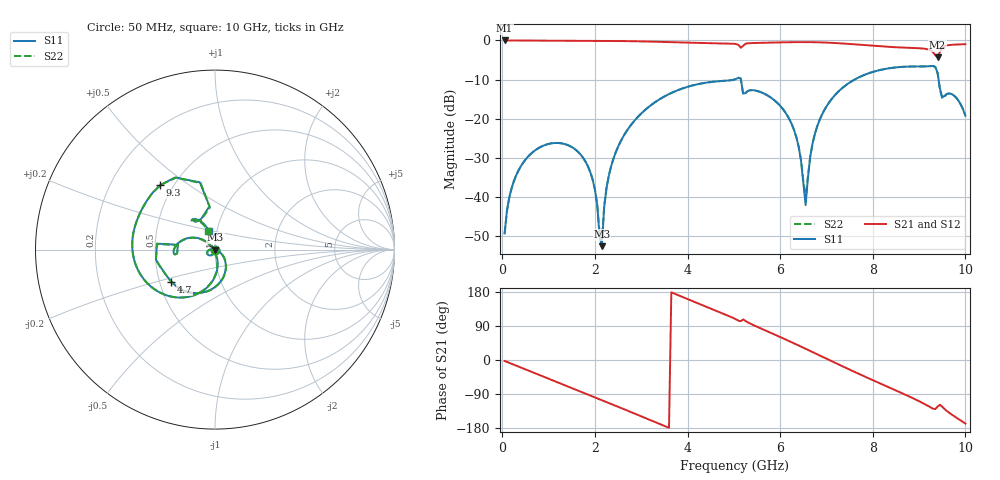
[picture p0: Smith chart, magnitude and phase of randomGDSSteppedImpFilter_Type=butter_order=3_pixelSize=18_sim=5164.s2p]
! freq	dB(S11)	phase(S11)	dB(S12)	phase(S12)
!  dB(S21)	phase(S21)	dB(S22)	phase(S22)
!S-par simulation data
#  GHz  S  DB  R 50
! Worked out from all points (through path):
!   200 points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, 50 MHz to 10 GHz, reference 50 ohm
!   highest |S21| = -0.01 dB at 50 MHz (marker M1); lowest = -4.3 dB at 9.4 GHz (marker M2)
!   group delay of S21, straight-line fit = 145 ps
!   lowest |S11| = -52.6 dB at 2.15 GHz (marker M3), VSWR 1.00, Z = 50.2 + j0.0479 ohm
!   |S11| at or under -10 dB: start of sweep to 5.011 GHz; 5.153 GHz to 7.609 GHz (2.456 GHz wide, 38.5 % of centre); 9.421 GHz to end of sweep
!   |S22| runs from -51.2 to -6.5 dB; largest |S21 - S12| = 0
!   S11 on the Smith chart (normalised r, x): 50 MHz: 1.00, -0.01; 4.7 GHz: 0.58, -0.23; 9.3 GHz: 0.42, +0.39; 10 GHz: 0.92, +0.19
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0.05  -49.37 -83.8  -0.01 -2.5  -0.01 -2.5  -49.37 -83.7
0.25  -35.97 -101.6  -0.02 -12.3  -0.02 -12.3  -35.97 -101.6
0.6  -29.18 -120.0  -0.04 -29.5  -0.04 -29.5  -29.19 -120.1
1.2  -26.22 -150.0  -0.08 -58.9  -0.08 -58.9  -26.22 -150.4
1.75  -30.10 -177.9  -0.10 -86.0  -0.10 -86.0  -30.10 -179.0
2  -38.12 167.6  -0.11 -98.4  -0.11 -98.4  -38.10 164.0
2.15  -52.61 11.7  -0.12 -105.8  -0.12 -105.8  -51.16 25.2
2.25  -37.81 -18.2  -0.13 -110.8  -0.13 -110.8  -37.72 -14.0
2.45  -28.61 -30.4  -0.15 -120.9  -0.15 -120.9  -28.59 -28.8
3.4  -15.02 -79.1  -0.36 -168.9  -0.36 -168.9  -15.02 -78.6
4.7  -10.41 -143.6  -0.75 126.1  -0.75 126.1  -10.40 -143.2
5.05  -9.85 -164.1  -0.93 107.0  -0.93 107.0  -9.85 -163.7
6.2  -20.17 142.7  -0.45 49.5  -0.45 49.5  -20.16 143.9
6.4  -27.21 135.9  -0.43 38.2  -0.43 38.2  -27.15 138.5
6.55  -42.11 -139.8  -0.43 29.6  -0.43 29.6  -40.55 -141.8
6.7  -26.34 -76.1  -0.44 21.0  -0.44 21.0  -26.29 -78.3
7.25  -13.16 -102.6  -0.71 -11.0  -0.71 -11.0  -13.16 -102.9
8.35  -7.12 -163.1  -1.65 -72.2  -1.65 -72.2  -7.12 -163.1
9.3  -6.52 130.6  -2.99 -128.4  -2.99 -128.4  -6.55 130.3
9.4  -8.30 102.7  -4.28 -122.8  -4.28 -122.8  -8.43 102.2
9.5  -14.59 114.9  -1.85 -123.3  -1.85 -123.3  -14.85 116.3
10  -19.25 108.1  -0.97 -167.7  -0.97 -167.7  -19.18 110.8
